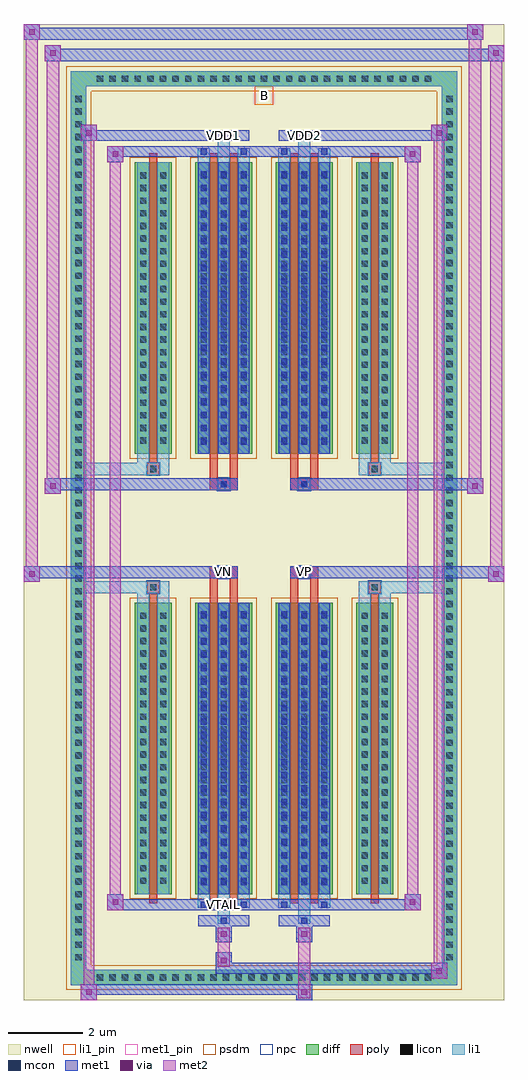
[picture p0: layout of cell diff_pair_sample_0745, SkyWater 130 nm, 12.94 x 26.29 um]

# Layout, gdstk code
import gdstk
lib = gdstk.Library(unit=1e-6, precision=5e-09)
def R(c, l, rs):  # rectangles x0, y0, x1, y1
    for r in rs: c.add(gdstk.rectangle(r[:2], r[2:], *l))
def A(c, l, x, y, w, h, nx, ny, dx, dy):  # array of equal rectangles
    R(c, l, [(x+i*dx, y+j*dy, x+i*dx+w, y+j*dy+h) for i in range(nx) for j in range(ny)])
def P(c, l, *ps):  # polygons
    for p in ps: c.add(gdstk.Polygon(p, *l))
nwell = (64, 20)
diff = (65, 20)
poly = (66, 20)
licon = (66, 44)
li1_pin = (67, 16)
li1 = (67, 20)
mcon = (67, 44)
met1_pin = (68, 16)
met1 = (68, 20)
via = (68, 44)
met2 = (69, 20)
psdm = (94, 20)
npc = (95, 20)

diff_pair_sample_0745 = lib.new_cell('diff_pair_sample_0745')
R(diff_pair_sample_0745, nwell, [(-6.47,-12.71,6.47,13.58), (-3.79,-10.9,-0.01,-0.82), (0.01,-10.9,3.79,-0.82), (-3.79,0.82,-0.01,10.9), (0.01,0.82,3.79,10.9)])
A(diff_pair_sample_0745, diff, -4.625, -12.31, 0.41, 0.41, 27, 2, 0.34, 24.21)
A(diff_pair_sample_0745, diff, -5.2, -11.765, 0.41, 0.41, 1, 69, 0, 0.34)
A(diff_pair_sample_0745, diff, 4.79, -11.765, 0.41, 0.41, 1, 69, 0, 0.34)
R(diff_pair_sample_0745, diff, [(-4.625,-12.31,4.625,-11.9), (-5.2,-11.765,-4.79,11.765), (4.79,-11.765,5.2,11.765), (-3.48,-9.855,-2.49,-2.005), (-1.85,-9.855,-0.32,-2.005), (0.32,-9.855,1.85,-2.005), (2.49,-9.855,3.48,-2.005), (-3.48,2.005,-2.49,9.855), (-1.85,2.005,-0.32,9.855), (0.32,2.005,1.85,9.855), (2.49,2.005,3.48,9.855), (-4.625,11.9,4.625,12.31)])
P(diff_pair_sample_0745, diff, [(5.2,12.31),(-5.2,12.31),(-5.2,-11.9),(-4.79,-11.9),(-4.79,11.9),(4.79,11.9),(4.79,-11.9),(-4.79,-11.9),(-5.2,-11.9),(-5.2,-12.31),(5.2,-12.31)])
R(diff_pair_sample_0745, poly, [(-3.09,-10.105,-2.88,-1.755), (-1.46,-10.105,-1.25,-1.755), (-0.92,-10.105,-0.71,-1.755), (0.71,-10.105,0.92,-1.755), (1.25,-10.105,1.46,-1.755), (2.88,-10.105,3.09,-1.755), (-3.15,-1.755,-2.82,-1.425), (-3.15,-1.755,-2.82,-1.425), (-1.46,-1.755,-1.25,-1.35), (-0.92,-1.755,-0.71,-1.35), (0.71,-1.755,0.92,-1.35), (1.25,-1.755,1.46,-1.35), (2.82,-1.755,3.15,-1.425), (2.82,-1.755,3.15,-1.425), (-1.46,-1.35,-0.71,-1.02), (-1.25,-1.35,-0.92,-1.02), (0.71,-1.35,1.46,-1.02), (0.92,-1.35,1.25,-1.02), (-1.46,1.02,-0.71,1.35), (-1.25,1.02,-0.92,1.35), (0.71,1.02,1.46,1.35), (0.92,1.02,1.25,1.35), (-1.46,1.35,-1.25,1.755), (-0.92,1.35,-0.71,1.755), (0.71,1.35,0.92,1.755), (1.25,1.35,1.46,1.755), (-3.15,1.425,-2.82,1.755), (-3.15,1.425,-2.82,1.755), (2.82,1.425,3.15,1.755), (2.82,1.425,3.15,1.755), (-3.09,1.755,-2.88,10.105), (-1.46,1.755,-1.25,10.105), (-0.92,1.755,-0.71,10.105), (0.71,1.755,0.92,10.105), (1.25,1.755,1.46,10.105), (2.88,1.755,3.09,10.105)])
A(diff_pair_sample_0745, licon, -4.505, -12.19, 0.17, 0.17, 27, 2, 0.34, 24.21)
A(diff_pair_sample_0745, licon, -5.08, -11.645, 0.17, 0.17, 1, 69, 0, 0.34)
A(diff_pair_sample_0745, licon, 4.91, -11.645, 0.17, 0.17, 1, 69, 0, 0.34)
A(diff_pair_sample_0745, licon, -3.34, -9.585, 0.17, 0.17, 1, 22, 0, 0.34)
A(diff_pair_sample_0745, licon, -2.8, -9.585, 0.17, 0.17, 1, 22, 0, 0.34)
A(diff_pair_sample_0745, licon, -1.71, -9.585, 0.17, 0.17, 3, 22, 0.54, 0.34)
A(diff_pair_sample_0745, licon, 0.46, -9.585, 0.17, 0.17, 3, 22, 0.54, 0.34)
A(diff_pair_sample_0745, licon, 2.63, -9.585, 0.17, 0.17, 1, 22, 0, 0.34)
A(diff_pair_sample_0745, licon, 3.17, -9.585, 0.17, 0.17, 1, 22, 0, 0.34)
A(diff_pair_sample_0745, licon, -3.34, 2.275, 0.17, 0.17, 1, 22, 0, 0.34)
A(diff_pair_sample_0745, licon, -2.8, 2.275, 0.17, 0.17, 1, 22, 0, 0.34)
A(diff_pair_sample_0745, licon, -1.71, 2.275, 0.17, 0.17, 3, 22, 0.54, 0.34)
A(diff_pair_sample_0745, licon, 0.46, 2.275, 0.17, 0.17, 3, 22, 0.54, 0.34)
A(diff_pair_sample_0745, licon, 2.63, 2.275, 0.17, 0.17, 1, 22, 0, 0.34)
A(diff_pair_sample_0745, licon, 3.17, 2.275, 0.17, 0.17, 1, 22, 0, 0.34)
R(diff_pair_sample_0745, licon, [(-3.07,-1.675,-2.9,-1.505), (2.9,-1.675,3.07,-1.505), (-1.17,-1.27,-1,-1.1), (1,-1.27,1.17,-1.1), (-1.17,1.1,-1,1.27), (1,1.1,1.17,1.27), (-3.07,1.505,-2.9,1.675), (2.9,1.505,3.07,1.675)])
R(diff_pair_sample_0745, li1_pin, [(-0.25,11.4,0.25,11.9)])
A(diff_pair_sample_0745, li1, -4.585, -12.27, 0.33, 0.33, 27, 2, 0.34, 24.21)
A(diff_pair_sample_0745, li1, -5.16, -11.725, 0.33, 0.33, 1, 69, 0, 0.34)
A(diff_pair_sample_0745, li1, 4.83, -11.725, 0.33, 0.33, 1, 69, 0, 0.34)
A(diff_pair_sample_0745, li1, -1.79, -9.855, 0.33, 7.85, 3, 2, 0.54, 11.86)
A(diff_pair_sample_0745, li1, 0.38, -9.855, 0.33, 7.85, 3, 2, 0.54, 11.86)
A(diff_pair_sample_0745, li1, -3.42, -9.665, 0.33, 0.33, 1, 22, 0, 0.34)
A(diff_pair_sample_0745, li1, -2.88, -9.665, 0.33, 0.33, 1, 22, 0, 0.34)
A(diff_pair_sample_0745, li1, -1.79, -9.665, 0.33, 0.33, 3, 22, 0.54, 0.34)
A(diff_pair_sample_0745, li1, 0.38, -9.665, 0.33, 0.33, 3, 22, 0.54, 0.34)
A(diff_pair_sample_0745, li1, 2.55, -9.665, 0.33, 0.33, 1, 22, 0, 0.34)
A(diff_pair_sample_0745, li1, 3.09, -9.665, 0.33, 0.33, 1, 22, 0, 0.34)
A(diff_pair_sample_0745, li1, -1.71, -9.615, 0.17, 0.17, 3, 21, 0.54, 0.36)
A(diff_pair_sample_0745, li1, -1.71, -9.615, 0.17, 7.37, 3, 2, 0.54, 11.86)
A(diff_pair_sample_0745, li1, 0.46, -9.615, 0.17, 0.17, 3, 21, 0.54, 0.36)
A(diff_pair_sample_0745, li1, 0.46, -9.615, 0.17, 7.37, 3, 2, 0.54, 11.86)
A(diff_pair_sample_0745, li1, -3.42, 2.195, 0.33, 0.33, 1, 22, 0, 0.34)
A(diff_pair_sample_0745, li1, -2.88, 2.195, 0.33, 0.33, 1, 22, 0, 0.34)
A(diff_pair_sample_0745, li1, -1.79, 2.195, 0.33, 0.33, 3, 22, 0.54, 0.34)
A(diff_pair_sample_0745, li1, 0.38, 2.195, 0.33, 0.33, 3, 22, 0.54, 0.34)
A(diff_pair_sample_0745, li1, 2.55, 2.195, 0.33, 0.33, 1, 22, 0, 0.34)
A(diff_pair_sample_0745, li1, 3.09, 2.195, 0.33, 0.33, 1, 22, 0, 0.34)
A(diff_pair_sample_0745, li1, -1.71, 2.245, 0.17, 0.17, 3, 21, 0.54, 0.36)
A(diff_pair_sample_0745, li1, 0.46, 2.245, 0.17, 0.17, 3, 21, 0.54, 0.36)
R(diff_pair_sample_0745, li1, [(-5.2,-12.31,-4.79,-11.9), (-5.2,-12.31,-4.79,-11.9), (-4.79,-12.31,4.79,-11.9), (4.79,-12.31,5.2,-11.9), (4.79,-12.31,5.2,-11.9), (-5.2,-11.9,-4.79,11.9), (4.79,-11.9,5.2,11.9), (-1.25,-10.66,-0.92,-9.855), (-1.17,-10.66,-1,-10.49), (0.92,-10.66,1.25,-9.855), (1,-10.66,1.17,-10.49), (-1.79,-10.23,-1.46,-9.855), (-1.71,-10.23,-1.54,-10.06), (-0.71,-10.23,-0.38,-9.855), (-0.63,-10.23,-0.46,-10.06), (0.38,-10.23,0.71,-9.855), (0.46,-10.23,0.63,-10.06), (1.46,-10.23,1.79,-9.855), (1.54,-10.23,1.71,-10.06), (-3.42,-9.855,-3.09,-2.005), (-2.88,-9.855,-2.55,-2.005), (2.55,-9.855,2.88,-2.005), (3.09,-9.855,3.42,-2.005), (-3.42,-2.005,-3.09,-1.425), (-2.88,-2.005,-2.55,-1.425), (2.55,-2.005,2.88,-1.425), (3.09,-2.005,3.42,-1.425), (-5.2,-1.755,-3.15,-1.425), (-3.42,-1.755,-3.15,-1.425), (-3.15,-1.755,-2.82,-1.425), (-2.82,-1.755,-2.55,-1.425), (2.55,-1.755,2.82,-1.425), (2.82,-1.755,3.15,-1.425), (2.82,-1.755,5.2,-1.425), (3.15,-1.755,3.42,-1.425), (-1.25,-1.35,-0.92,-1.02), (0.92,-1.35,1.25,-1.02), (-1.25,1.02,-0.92,1.35), (0.92,1.02,1.25,1.35), (-5.2,1.425,-3.15,1.755), (-3.42,1.425,-3.15,1.755), (-3.42,1.425,-3.09,2.005), (-3.15,1.425,-2.82,1.755), (-2.88,1.425,-2.55,2.005), (-2.82,1.425,-2.55,1.755), (2.55,1.425,2.82,1.755), (2.55,1.425,2.88,2.005), (2.82,1.425,3.15,1.755), (2.82,1.425,5.2,1.755), (3.09,1.425,3.42,2.005), (3.15,1.425,3.42,1.755), (-3.42,2.005,-3.09,9.855), (-2.88,2.005,-2.55,9.855), (2.55,2.005,2.88,9.855), (3.09,2.005,3.42,9.855), (-1.79,9.855,-1.46,10.23), (-1.25,9.855,-0.92,10.66), (-0.71,9.855,-0.38,10.23), (0.38,9.855,0.71,10.23), (0.92,9.855,1.25,10.66), (1.46,9.855,1.79,10.23), (-1.71,10.06,-1.54,10.23), (-0.63,10.06,-0.46,10.23), (0.46,10.06,0.63,10.23), (1.54,10.06,1.71,10.23), (-1.17,10.49,-1,10.66), (1,10.49,1.17,10.66), (-5.2,11.9,-4.79,12.31), (-5.2,11.9,-4.79,12.31), (-4.79,11.9,4.79,12.31), (4.79,11.9,5.2,12.31), (4.79,11.9,5.2,12.31)])
A(diff_pair_sample_0745, mcon, -1.71, -9.615, 0.17, 0.17, 3, 21, 0.54, 0.36)
A(diff_pair_sample_0745, mcon, 0.46, -9.615, 0.17, 0.17, 3, 21, 0.54, 0.36)
A(diff_pair_sample_0745, mcon, -1.71, 2.245, 0.17, 0.17, 3, 21, 0.54, 0.36)
A(diff_pair_sample_0745, mcon, 0.46, 2.245, 0.17, 0.17, 3, 21, 0.54, 0.36)
R(diff_pair_sample_0745, mcon, [(-1.17,-10.66,-1,-10.49), (1,-10.66,1.17,-10.49), (-1.71,-10.23,-1.54,-10.06), (-0.63,-10.23,-0.46,-10.06), (0.46,-10.23,0.63,-10.06), (1.54,-10.23,1.71,-10.06), (-1.17,-1.27,-1,-1.1), (1,-1.27,1.17,-1.1), (-1.17,1.1,-1,1.27), (1,1.1,1.17,1.27), (-1.71,10.06,-1.54,10.23), (-0.63,10.06,-0.46,10.23), (0.46,10.06,0.63,10.23), (1.54,10.06,1.71,10.23), (-1.17,10.49,-1,10.66), (1,10.49,1.17,10.66)])
R(diff_pair_sample_0745, met1_pin, [(-1.22,-10.27,-0.95,-10), (-1.22,-1.29,-0.95,-1.02), (0.95,-1.29,1.22,-1.02), (-1.22,10.45,-0.95,10.72), (0.95,10.45,1.22,10.72)])
A(diff_pair_sample_0745, met1, -1.77, -9.855, 0.29, 7.85, 3, 2, 0.54, 11.86)
A(diff_pair_sample_0745, met1, 0.4, -9.855, 0.29, 7.85, 3, 2, 0.54, 11.86)
A(diff_pair_sample_0745, met1, -1.77, -9.675, 0.29, 0.29, 3, 21, 0.54, 0.36)
A(diff_pair_sample_0745, met1, 0.4, -9.675, 0.29, 0.29, 3, 21, 0.54, 0.36)
A(diff_pair_sample_0745, met1, -1.77, 2.185, 0.29, 0.29, 3, 21, 0.54, 0.36)
A(diff_pair_sample_0745, met1, 0.4, 2.185, 0.29, 0.29, 3, 21, 0.54, 0.36)
R(diff_pair_sample_0745, met1, [(-4.93,-12.71,-4.5,-12.28), (0.87,-12.71,1.3,-12.28), (-4.93,-12.57,1.3,-12.28), (4.5,-12.14,4.93,-11.71), (-1.3,-12,4.93,-11.71), (-1.3,-11.86,-0.87,-11.43), (-1.3,-11.15,-0.87,-10.72), (0.87,-11.15,1.3,-10.72), (-1.77,-10.72,-0.4,-10.43), (-1.23,-10.72,-0.94,-10.43), (0.4,-10.72,1.77,-10.43), (0.94,-10.72,1.23,-10.43), (-4.22,-10.29,-3.79,-9.86), (-4.22,-10.29,-1.77,-10), (-1.77,-10.29,-1.48,-10), (-1.77,-10.29,-0.4,-10), (-0.69,-10.29,-0.4,-10), (-0.4,-10.29,0.4,-10), (0.4,-10.29,0.69,-10), (0.4,-10.29,1.77,-10), (1.48,-10.29,1.77,-10), (1.77,-10.29,4.22,-10), (3.79,-10.29,4.22,-9.86), (-6.47,-1.45,-6.04,-1.02), (6.04,-1.45,6.47,-1.02), (-6.47,-1.35,-0.71,-1.02), (-1.46,-1.35,-0.71,-1.02), (0.71,-1.35,1.46,-1.02), (0.71,-1.35,6.47,-1.02), (-1.23,-1.33,-0.94,-1.04), (0.94,-1.33,1.23,-1.04), (-5.9,0.92,-5.47,1.35), (5.47,0.92,5.9,1.35), (-5.9,1.02,-1.46,1.35), (-1.46,1.02,-0.71,1.35), (0.71,1.02,1.46,1.35), (1.46,1.02,5.9,1.35), (-1.23,1.04,-0.94,1.33), (0.94,1.04,1.23,1.33), (-4.22,9.86,-3.79,10.29), (3.79,9.86,4.22,10.29), (-4.22,10,-1.77,10.29), (-1.77,10,-1.48,10.29), (-1.77,10,-0.4,10.29), (-0.69,10,-0.4,10.29), (-0.4,10,0.4,10.29), (0.4,10,0.69,10.29), (0.4,10,1.77,10.29), (1.48,10,1.77,10.29), (1.77,10,4.22,10.29), (-4.93,10.43,-4.5,10.86), (-4.93,10.43,-1.77,10.72), (-1.77,10.43,-0.4,10.72), (-1.23,10.43,-0.94,10.72), (0.4,10.43,1.77,10.72), (0.94,10.43,1.23,10.72), (1.77,10.43,4.93,10.72), (4.5,10.43,4.93,10.86), (-5.9,12.58,-5.47,13.01), (-5.9,12.58,-3.79,12.91), (-3.79,12.58,3.79,12.91), (3.79,12.58,6.47,12.91), (6.04,12.58,6.47,13.01), (-6.47,13.15,-6.04,13.58), (-6.47,13.15,-3.79,13.48), (-3.79,13.15,3.79,13.48), (3.79,13.15,5.9,13.48), (5.47,13.15,5.9,13.58)])
R(diff_pair_sample_0745, via, [(-4.79,-12.57,-4.64,-12.42), (1.01,-12.57,1.16,-12.42), (4.64,-12,4.79,-11.85), (-1.16,-11.72,-1.01,-11.57), (-1.16,-11.01,-1.01,-10.86), (1.01,-11.01,1.16,-10.86), (-4.08,-10.15,-3.93,-10), (3.93,-10.15,4.08,-10), (-6.33,-1.31,-6.18,-1.16), (6.18,-1.31,6.33,-1.16), (-5.76,1.06,-5.61,1.21), (5.61,1.06,5.76,1.21), (-4.08,10,-3.93,10.15), (3.93,10,4.08,10.15), (-4.79,10.57,-4.64,10.72), (4.64,10.57,4.79,10.72), (-5.76,12.72,-5.61,12.87), (6.18,12.72,6.33,12.87), (-6.33,13.29,-6.18,13.44), (5.61,13.29,5.76,13.44)])
R(diff_pair_sample_0745, met2, [(-4.93,-12.71,-4.5,-12.28), (-4.86,-12.71,-4.57,10.86), (-4.57,-12.71,-4.5,-12.28), (-4.88,-12.66,-4.55,-12.33), (0.92,-12.66,1.25,-12.33), (0.92,-12.33,1.25,-11.1), (4.5,-12.14,4.93,-11.71), (4.57,-12.14,4.86,10.86), (4.86,-12.14,4.93,-11.71), (4.55,-12.09,4.88,-11.76), (-1.25,-11.81,-0.92,-11.48), (-1.25,-11.48,-0.92,-11.1), (-1.25,-11.1,-0.92,-10.77), (0.92,-11.1,1.25,-10.77), (-4.22,-10.29,-3.79,-9.86), (-4.15,-10.29,-3.86,10.29), (-3.86,-10.29,-3.79,-9.86), (3.79,-10.29,4.22,-9.86), (3.86,-10.29,4.15,10.29), (4.15,-10.29,4.22,-9.86), (-4.17,-10.24,-3.84,-9.91), (3.84,-10.24,4.17,-9.91), (-6.47,-1.45,-6.04,-1.02), (-6.42,-1.45,-6.09,13.58), (-6.09,-1.45,-6.04,-1.02), (6.04,-1.45,6.47,-1.02), (6.09,-1.45,6.42,13.01), (6.42,-1.45,6.47,-1.02), (-6.42,-1.4,-6.09,-1.07), (6.09,-1.4,6.42,-1.07), (-5.9,0.92,-5.47,1.35), (-5.85,0.92,-5.52,13.01), (-5.52,0.92,-5.47,1.35), (5.47,0.92,5.9,1.35), (5.52,0.92,5.85,13.58), (5.85,0.92,5.9,1.35), (-5.85,0.97,-5.52,1.3), (5.52,0.97,5.85,1.3), (-4.22,9.86,-3.79,10.29), (-3.86,9.86,-3.79,10.29), (3.79,9.86,4.22,10.29), (4.15,9.86,4.22,10.29), (-4.17,9.91,-3.84,10.24), (3.84,9.91,4.17,10.24), (-4.93,10.43,-4.5,10.86), (-4.57,10.43,-4.5,10.86), (4.5,10.43,4.93,10.86), (4.86,10.43,4.93,10.86), (-4.88,10.48,-4.55,10.81), (4.55,10.48,4.88,10.81), (-5.9,12.58,-5.47,13.01), (-5.52,12.58,-5.47,13.01), (6.04,12.58,6.47,13.01), (6.42,12.58,6.47,13.01), (-5.85,12.63,-5.52,12.96), (6.09,12.63,6.42,12.96), (-6.47,13.15,-6.04,13.58), (-6.09,13.15,-6.04,13.58), (5.47,13.15,5.9,13.58), (5.85,13.15,5.9,13.58), (-6.42,13.2,-6.09,13.53), (5.52,13.2,5.85,13.53)])
R(diff_pair_sample_0745, psdm, [(-3.61,-9.985,-2.36,-1.875), (-1.98,-9.985,-0.19,-1.875), (0.19,-9.985,1.98,-1.875), (2.36,-9.985,3.61,-1.875), (-3.61,1.875,-2.36,9.985), (-1.98,1.875,-0.19,9.985), (0.19,1.875,1.98,9.985), (2.36,1.875,3.61,9.985)])
P(diff_pair_sample_0745, psdm, [(5.33,12.44),(-5.33,12.44),(-5.33,-11.77),(-4.66,-11.77),(-4.66,11.77),(4.66,11.77),(4.66,-11.77),(-4.66,-11.77),(-5.33,-11.77),(-5.33,-12.44),(5.33,-12.44)])
R(diff_pair_sample_0745, npc, [(-3.17,-1.775,-2.8,-1.405), (2.8,-1.775,3.17,-1.405), (-1.27,-1.37,-0.9,-1), (0.9,-1.37,1.27,-1), (-1.27,1,-0.9,1.37), (0.9,1,1.27,1.37), (-3.17,1.405,-2.8,1.775), (2.8,1.405,3.17,1.775)])
diff_pair_sample_0745.add(gdstk.Label('VTAIL', (-1.085,-10.135), layer=68, texttype=5))
diff_pair_sample_0745.add(gdstk.Label('VN', (-1.085,-1.155), layer=68, texttype=5))
diff_pair_sample_0745.add(gdstk.Label('VP', (1.085,-1.155), layer=68, texttype=5))
diff_pair_sample_0745.add(gdstk.Label('B', (0,11.65), layer=67, texttype=5))
diff_pair_sample_0745.add(gdstk.Label('VDD2', (1.085,10.585), layer=68, texttype=5))
diff_pair_sample_0745.add(gdstk.Label('VDD1', (-1.085,10.585), layer=68, texttype=5))

lib.write_gds('diff_pair_sample_0745.gds')
